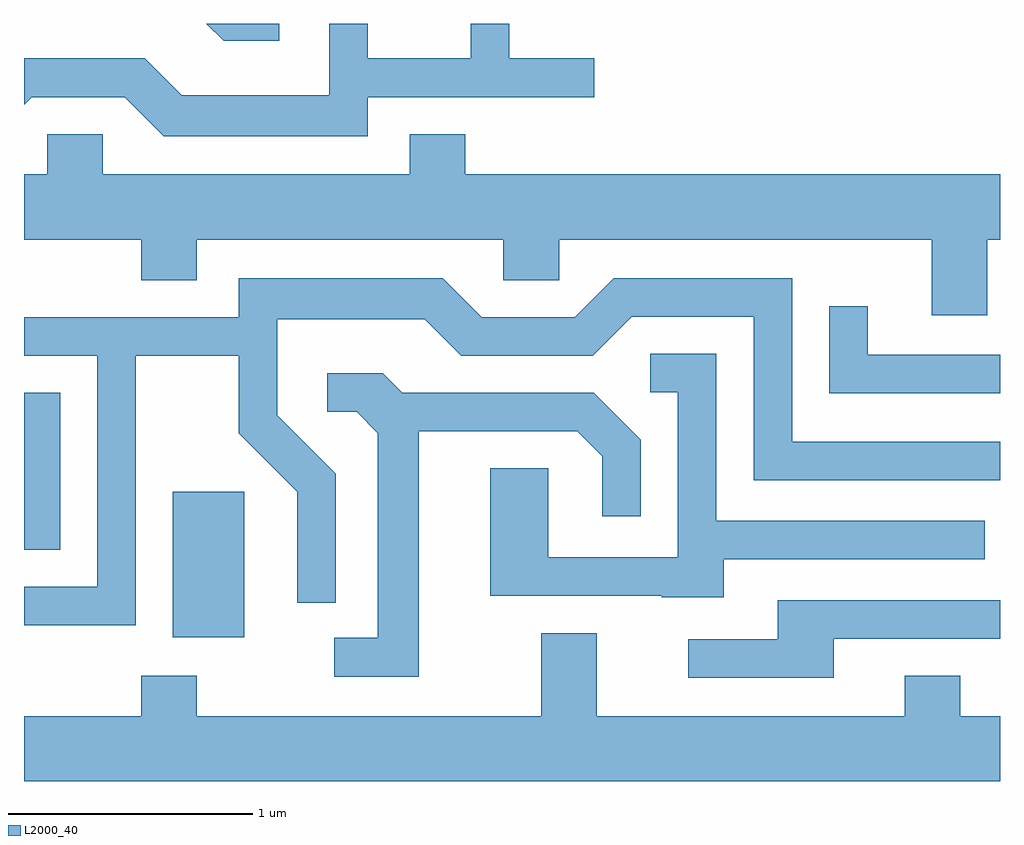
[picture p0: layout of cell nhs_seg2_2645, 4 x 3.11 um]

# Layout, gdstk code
import gdstk
lib = gdstk.Library(unit=1e-6, precision=1e-09)
def R(c, l, rs):  # rectangles x0, y0, x1, y1
    for r in rs: c.add(gdstk.rectangle(r[:2], r[2:], *l))
def P(c, l, *ps):  # polygons
    for p in ps: c.add(gdstk.Polygon(p, *l))
L2000_40 = (2000, 40)

nhs_seg2_2645 = lib.new_cell('nhs_seg2_2645')
R(nhs_seg2_2645, L2000_40, [(262.221,1113.286,262.514,1113.884), (261.611,1113.646,261.759,1114.289)])
P(nhs_seg2_2645, L2000_40, [(262.658,1115.802),(262.358,1115.802),(262.429,1115.731),(262.658,1115.731)],
  [(263.019,1115.501),(263.948,1115.501),(263.948,1115.659),(263.599,1115.659),(263.599,1115.802),(263.441,1115.802),(263.441,1115.659),(263.019,1115.659),(263.019,1115.802),(262.861,1115.802),(262.861,1115.509),(262.257,1115.509),(262.106,1115.659),(261.611,1115.659),(261.611,1115.47),(261.642,1115.501),(262.024,1115.501),(262.184,1115.341),(263.019,1115.341)],
  [(265.559,1114.916),(265.611,1114.916),(265.611,1115.184),(263.419,1115.184),(263.419,1115.349),(263.191,1115.349),(263.191,1115.184),(261.934,1115.184),(261.934,1115.349),(261.706,1115.349),(261.706,1115.184),(261.611,1115.184),(261.611,1114.916),(262.091,1114.916),(262.091,1114.751),(262.319,1114.751),(262.319,1114.916),(263.576,1114.916),(263.576,1114.751),(263.804,1114.751),(263.804,1114.916),(265.331,1114.916),(265.331,1114.606),(265.559,1114.606)],
  [(262.069,1114.441),(262.491,1114.441),(262.491,1114.124),(262.731,1113.884),(262.731,1113.428),(262.889,1113.428),(262.889,1113.957),(262.649,1114.197),(262.649,1114.591),(263.254,1114.591),(263.404,1114.441),(263.942,1114.441),(264.102,1114.601),(264.601,1114.601),(264.601,1113.931),(265.611,1113.931),(265.611,1114.089),(264.759,1114.089),(264.759,1114.759),(264.029,1114.759),(263.869,1114.599),(263.487,1114.599),(263.327,1114.759),(262.491,1114.759),(262.491,1114.599),(261.611,1114.599),(261.611,1114.441),(261.911,1114.441),(261.911,1113.494),(261.611,1113.494),(261.611,1113.336),(262.069,1113.336)],
  [(265.611,1114.444),(265.069,1114.444),(265.069,1114.643),(264.911,1114.643),(264.911,1114.286),(265.611,1114.286)],
  [(264.479,1113.606),(265.548,1113.606),(265.548,1113.764),(264.449,1113.764),(264.449,1114.449),(264.178,1114.449),(264.178,1114.291),(264.291,1114.291),(264.291,1113.614),(263.759,1113.614),(263.759,1113.979),(263.521,1113.979),(263.521,1113.456),(264.225,1113.456),(264.225,1113.451),(264.479,1113.451)],
  [(263.229,1114.131),(263.879,1114.131),(263.981,1114.029),(263.981,1113.783),(264.139,1113.783),(264.139,1114.097),(263.947,1114.289),(263.162,1114.289),(263.082,1114.369),(262.853,1114.369),(262.853,1114.211),(262.974,1114.211),(263.061,1114.124),(263.061,1113.284),(262.883,1113.284),(262.883,1113.126),(263.229,1113.126)],
  [(264.929,1113.281),(265.611,1113.281),(265.611,1113.439),(264.701,1113.439),(264.701,1113.279),(264.333,1113.279),(264.333,1113.121),(264.929,1113.121)],
  [(265.611,1112.964),(265.449,1112.964),(265.449,1113.129),(265.221,1113.129),(265.221,1112.964),(263.959,1112.964),(263.959,1113.304),(263.731,1113.304),(263.731,1112.964),(262.319,1112.964),(262.319,1113.129),(262.091,1113.129),(262.091,1112.964),(261.611,1112.964),(261.611,1112.696),(265.611,1112.696)])

lib.write_gds('nhs_seg2_2645.gds')
